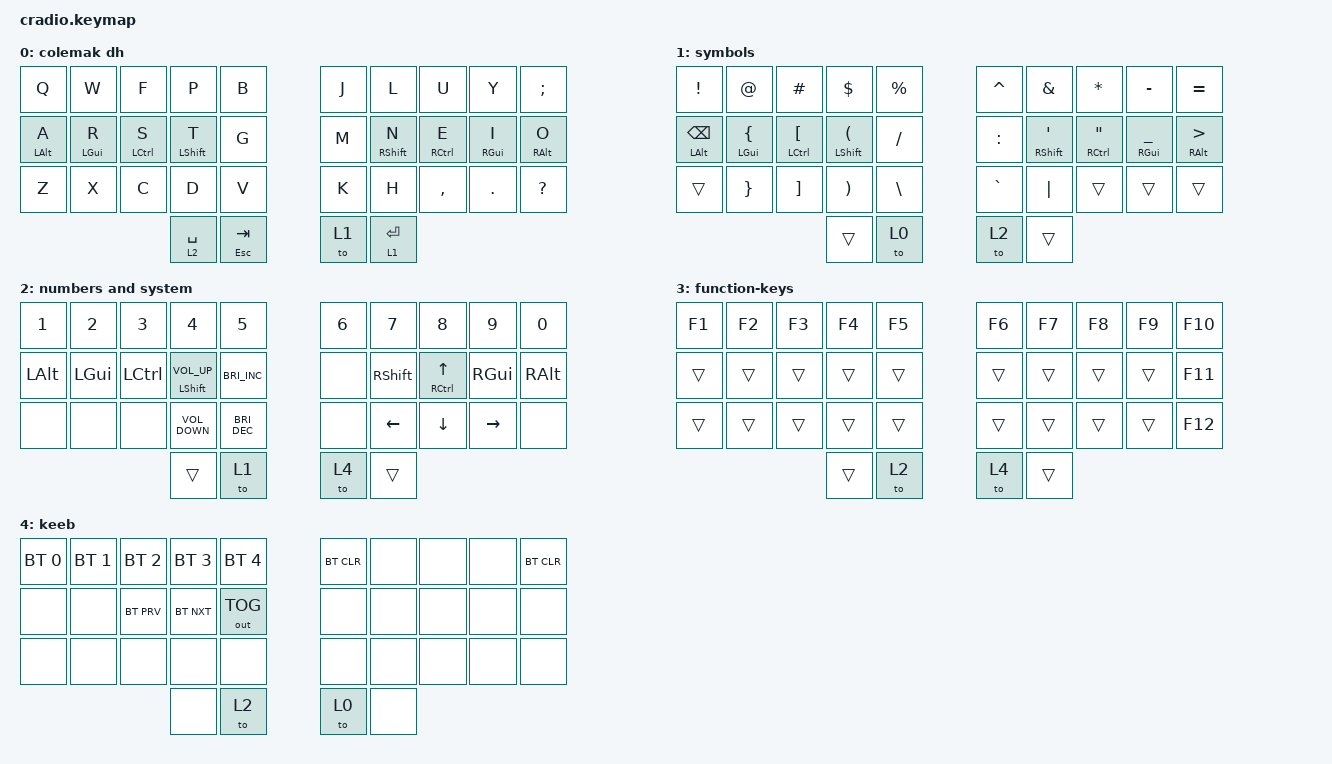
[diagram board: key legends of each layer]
// Copyright (c) 2022 The ZMK Contributors
// SPDX-License-Identifier: MIT

#include <behaviors.dtsi>
#include <dt-bindings/zmk/bt.h>
#include <dt-bindings/zmk/keys.h>
#include <dt-bindings/zmk/outputs.h>

/ {
    behaviors {
        ht: hold_tap {
            label = "hold_tap";
            compatible = "zmk,behavior-hold-tap";
            #binding-cells = <2>;
            flavor = "tap-preferred";
            tapping-term-ms = <220>;
            quick-tap-ms = <150>;
            require-prior-idle-ms = <100>;
            bindings = <&kp>, <&kp>;
        };
    };

    conditional_layers {
        compatible = "zmk,conditional-layers";
    };

    combos {
        compatible = "zmk,combos";

        combo_to_layer_0 {
            bindings = <&to 0>;
            key-positions = <15 32>;
            timeout-ms = <100>;
            require-prior-idle-ms = <50>;
        };

        combo_to_layer_1 {
            bindings = <&to 1>;
            key-positions = <16 32>;
            timeout-ms = <100>;
            require-prior-idle-ms = <50>;
        };

        combo_to_layer_2 {
            bindings = <&to 2>;
            key-positions = <17 32>;
            timeout-ms = <100>;
            require-prior-idle-ms = <50>;
        };

        combo_to_layer_3 {
            bindings = <&to 4>;
            key-positions = <18 32>;
            timeout-ms = <100>;
            require-prior-idle-ms = <50>;
        };

        combo_reset_keeb {
            bindings = <&sys_reset>;
            key-positions = <21 22 23 24 30 31>;
            require-prior-idle-ms = <1000>;
        };

        combo_esc {
            bindings = <&kp ESCAPE>;
            key-positions = <1 0>;
            layers = <0>;
        };

        combo_to_layer_4 {
            bindings = <&to 4>;
            key-positions = <32 19>;
            timeout-ms = <100>;
            require-prior-idle-ms = <50>;
        };
    };

    keymap {
        compatible = "zmk,keymap";

        colemak_dh {
            bindings = <
&kp Q           &kp W           &kp F               &kp P             &kp B             &kp J  &kp L              &kp U                &kp Y            &kp SEMICOLON
&ht LEFT_ALT A  &ht LEFT_GUI R  &ht LEFT_CONTROL S  &ht LEFT_SHIFT T  &kp G             &kp M  &ht RIGHT_SHIFT N  &ht RIGHT_CONTROL E  &ht RIGHT_GUI I  &ht RIGHT_ALT O
&kp Z           &kp X           &kp C               &kp D             &kp V             &kp K  &kp H              &kp COMMA            &kp DOT          &kp QUESTION
                                                    &lt 2 SPACE       &mt ESCAPE TAB    &to 1  &lt 1 RETURN
            >;

            label = "colemak dh";
        };

        symbols {
            bindings = <
&kp EXCLAMATION         &kp AT                   &kp HASH                       &kp DOLLAR                       &kp PERCENT      &kp CARET  &kp AMPERSAND                 &kp ASTERISK                     &kp MINUS                 &kp EQUAL
&ht LEFT_ALT BACKSPACE  &ht LEFT_GUI LEFT_BRACE  &ht LEFT_CONTROL LEFT_BRACKET  &ht LEFT_SHIFT LEFT_PARENTHESIS  &kp SLASH        &kp COLON  &ht RIGHT_SHIFT SINGLE_QUOTE  &ht RIGHT_CONTROL DOUBLE_QUOTES  &ht RIGHT_GUI UNDERSCORE  &ht RIGHT_ALT GREATER_THAN
&trans                  &kp RIGHT_BRACE          &kp RIGHT_BRACKET              &kp RIGHT_PARENTHESIS            &kp BACKSLASH    &kp GRAVE  &kp PIPE                      &trans                           &trans                    &trans
                                                                                &trans                           &to 0            &to 2      &trans
            >;

            label = "symbols";
        };

        num_sys {
            bindings = <
&kp NUMBER_1  &kp NUMBER_2  &kp NUMBER_3      &kp NUMBER_4                &kp N5                  &kp NUMBER_6  &kp NUMBER_7     &kp NUMBER_8                &kp NUMBER_9     &kp NUMBER_0
&kp LEFT_ALT  &kp LEFT_GUI  &kp LEFT_CONTROL  &ht LEFT_SHIFT C_VOLUME_UP  &kp C_BRIGHTNESS_INC    &none         &kp RIGHT_SHIFT  &ht RIGHT_CONTROL UP_ARROW  &kp RIGHT_GUI    &kp RIGHT_ALT
&none         &none         &none             &kp C_VOLUME_DOWN           &kp C_BRIGHTNESS_DEC    &none         &kp LEFT_ARROW   &kp DOWN_ARROW              &kp RIGHT_ARROW  &none
                                              &trans                      &to 1                   &to 4         &trans
            >;

            label = "numbers and system";
        };

        function-keys {
            bindings = <
&kp F1  &kp F2  &kp F3  &kp F4  &kp F5    &kp F6  &kp F7  &kp F8  &kp F9  &kp F10
&trans  &trans  &trans  &trans  &trans    &trans  &trans  &trans  &trans  &kp F11
&trans  &trans  &trans  &trans  &trans    &trans  &trans  &trans  &trans  &kp F12
                        &trans  &to 2     &to 4   &trans
            >;

            label = "function-keys";
        };

        keeb {
            bindings = <
&bt BT_SEL 0  &bt BT_SEL 1  &bt BT_SEL 2  &bt BT_SEL 3  &bt BT_SEL 4    &bt BT_CLR  &none  &none  &none  &bt BT_CLR
&none         &none         &bt BT_PRV    &bt BT_NXT    &out OUT_TOG    &none       &none  &none  &none  &none
&none         &none         &none         &none         &none           &none       &none  &none  &none  &none
                                          &none         &to 2           &to 0       &none
            >;

            label = "keeb";
        };
    };
};
